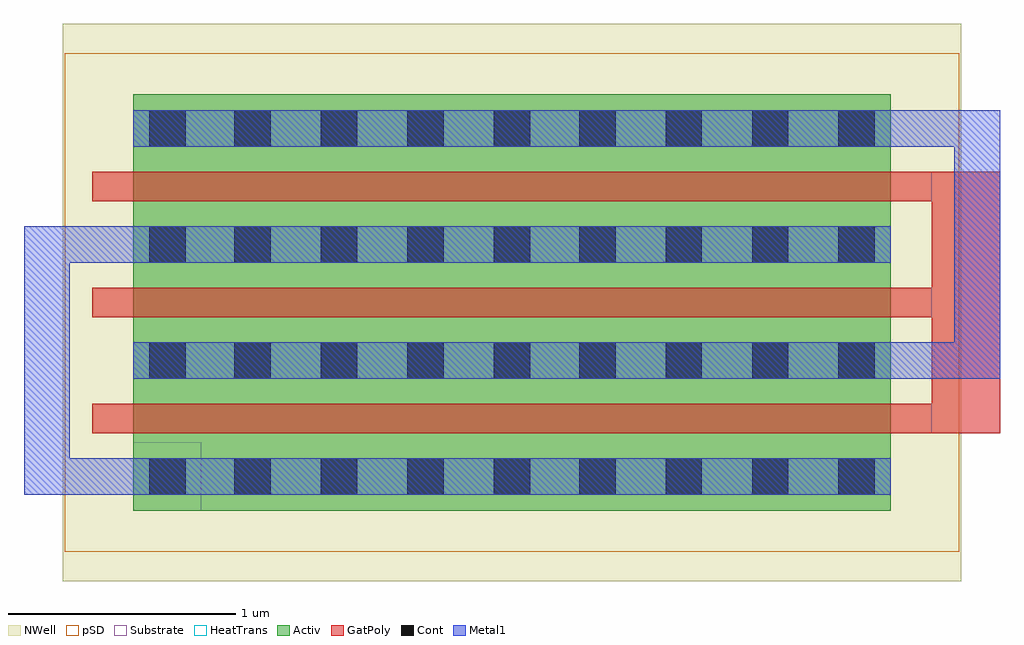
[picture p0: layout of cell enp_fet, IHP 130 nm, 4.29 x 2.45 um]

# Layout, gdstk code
from math import pi, radians
import gdstk
lib = gdstk.Library(unit=1e-6, precision=1e-09)
def R(c, l, rs):  # rectangles x0, y0, x1, y1
    for r in rs: c.add(gdstk.rectangle(r[:2], r[2:], *l))
def A(c, l, x, y, w, h, nx, ny, dx, dy):  # array of equal rectangles
    R(c, l, [(x+i*dx, y+j*dy, x+i*dx+w, y+j*dy+h) for i in range(nx) for j in range(ny)])
def P(c, l, *ps):  # polygons
    for p in ps: c.add(gdstk.Polygon(p, *l))
Activ = (1, 0)
GatPoly = (5, 0)
Cont = (6, 0)
Metal1 = (8, 0)
pSD = (14, 0)
NWell = (31, 0)
Substrate = (40, 0)
HeatTrans = (51, 0)

pmos_8 = lib.new_cell('pmos$8')
A(pmos_8, Activ, 0, 0, 0.3, 0.3, 4, 1, 0.51, 0)
R(pmos_8, Activ, [(0,0,1.83,3.33)])
A(pmos_8, GatPoly, 0.34, -0.18, 0.13, 3.69, 3, 1, 0.51, 0)
R(pmos_8, GatPoly, [(0.34,-0.18,0.47,3.51)])
A(pmos_8, Cont, 0.07, 0.07, 0.16, 0.16, 4, 2, 0.51, 0.375)
A(pmos_8, Cont, 0.07, 0.825, 0.16, 0.16, 4, 3, 0.51, 0.38)
A(pmos_8, Cont, 0.07, 1.96, 0.16, 0.16, 4, 4, 0.51, 0.38)
A(pmos_8, Metal1, 0.58, 0, 0.16, 3.33, 3, 1, 0.51, 0)
R(pmos_8, Metal1, [(0.07,0,0.23,3.33), (0.07,0,0.23,3.33), (0.58,0,0.74,3.33)])
R(pmos_8, pSD, [(-0.18,-0.3,2.01,3.63)])
R(pmos_8, NWell, [(-0.31,-0.31,2.14,3.64)])
R(pmos_8, Substrate, [(1.53,0,1.83,0.3)])
A(pmos_8, HeatTrans, 0.34, -0.18, 0.13, 3.69, 3, 1, 0.51, 0)
pmos_8.add(gdstk.Label('pmos', (0.405,1.665), layer=63, texttype=0))
pmos_8.add(gdstk.Label('pmos', (0.405,1.665), layer=51, texttype=0))
pmos_8.add(gdstk.Label('pmos', (0.915,1.665), layer=51, texttype=0))
pmos_8.add(gdstk.Label('pmos', (1.425,1.665), layer=51, texttype=0))

enp_fet = lib.new_cell('enp_fet')
R(enp_fet, GatPoly, [(3.51,-1.49,3.81,-0.34)])
P(enp_fet, Metal1, [(3.33,-1.25),(3.33,-1.09),(3.61,-1.09),(3.61,-0.23),(3.33,-0.23),(3.33,-0.07),(3.81,-0.07),(3.81,-1.25)],
  [(-0.48,-1.76),(-0.48,-0.58),(0,-0.58),(0,-0.74),(-0.28,-0.74),(-0.28,-1.6),(0,-1.6),(0,-1.76)])
enp_fet.add(gdstk.Reference(pmos_8, (0,0), rotation=3*pi/2))

lib.write_gds('enp_fet.gds')
